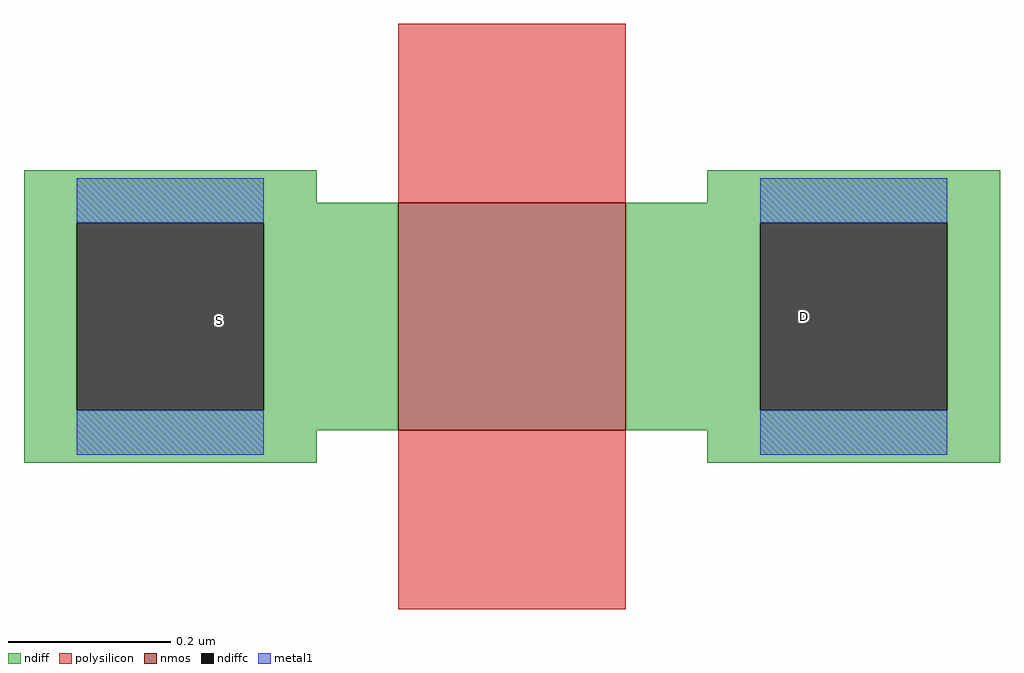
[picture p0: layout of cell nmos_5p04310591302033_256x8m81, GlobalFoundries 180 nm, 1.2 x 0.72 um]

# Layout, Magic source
magic
tech gf180mcuD
magscale 1 10
<< nmos >>
rect 0 0 56 56
<< ndiff >>
rect -92 56 -20 64
rect 76 56 148 64
rect -92 51 0 56
rect -92 5 -79 51
rect -33 5 0 51
rect -92 0 0 5
rect 56 51 148 56
rect 56 5 89 51
rect 135 5 148 51
rect 56 0 148 5
rect -92 -8 -20 0
rect 76 -8 148 0
<< ndiffc >>
rect -79 5 -33 51
rect 89 5 135 51
<< polysilicon >>
rect 0 56 56 100
rect 0 -44 56 0
<< metal1 >>
rect -79 51 -33 62
rect -79 -6 -33 5
rect 89 51 135 62
rect 89 -6 135 5
<< labels >>
flabel ndiffc -44 27 -44 27 0 FreeSans 93 0 0 0 S
flabel ndiffc 100 28 100 28 0 FreeSans 93 0 0 0 D
<< end >>
